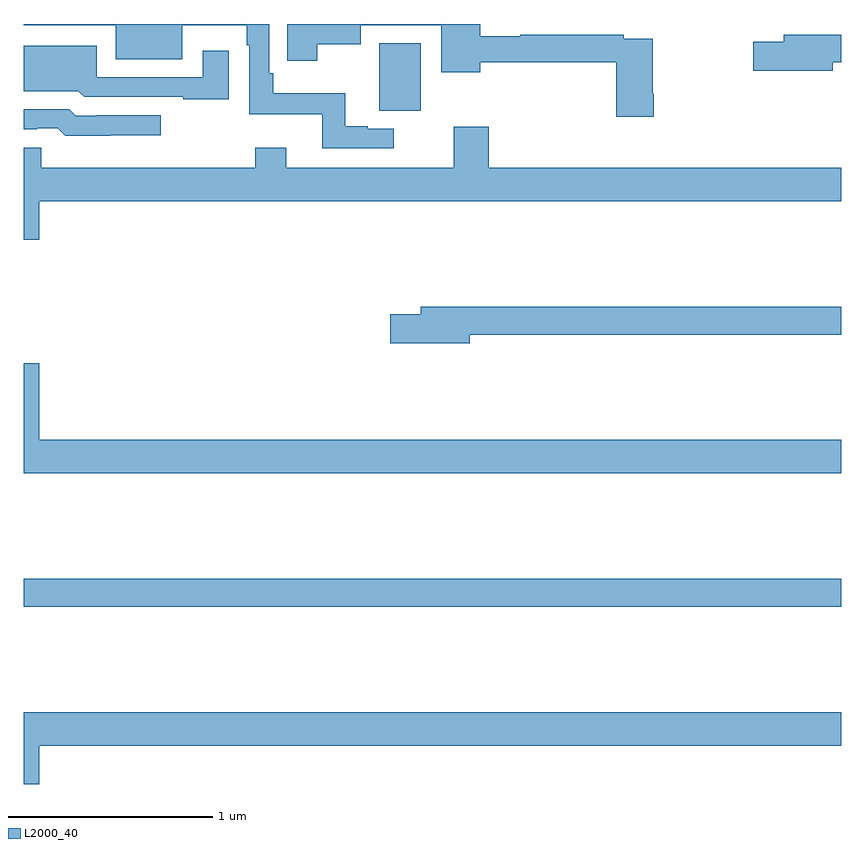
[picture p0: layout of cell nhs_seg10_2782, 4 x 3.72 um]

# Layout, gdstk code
import gdstk
lib = gdstk.Library(unit=1e-6, precision=1e-09)
def R(c, l, rs):  # rectangles x0, y0, x1, y1
    for r in rs: c.add(gdstk.rectangle(r[:2], r[2:], *l))
def P(c, l, *ps):  # polygons
    for p in ps: c.add(gdstk.Polygon(p, *l))
L2000_40 = (2000, 40)

nhs_seg10_2782 = lib.new_cell('nhs_seg10_2782')
R(nhs_seg10_2782, L2000_40, [(261,1315.648,265,1315.784), (262.739,1318.076,262.942,1318.405)])
P(nhs_seg10_2782, L2000_40, [(264.083,1318.159),(264.078,1318.159),(264.078,1318.428),(263.936,1318.428),(263.936,1318.448),(263.429,1318.448),(263.429,1318.441),(263.233,1318.441),(263.233,1318.5),(262.289,1318.5),(262.289,1318.32),(262.437,1318.32),(262.437,1318.402),(262.65,1318.402),(262.65,1318.494),(263.042,1318.494),(263.042,1318.265),(263.233,1318.265),(263.233,1318.312),(263.9,1318.312),(263.9,1318.047),(264.083,1318.047)],
  [(262.81,1317.987),(262.683,1317.987),(262.683,1318),(262.573,1318),(262.573,1318.162),(262.22,1318.162),(262.22,1318.258),(262.2,1318.258),(262.2,1318.5),(261,1318.5),(261,1318.494),(261.449,1318.494),(261.449,1318.328),(261.775,1318.328),(261.775,1318.494),(262.092,1318.494),(262.092,1318.397),(262.104,1318.397),(262.104,1318.058),(262.46,1318.058),(262.46,1317.891),(262.81,1317.891)],
  [(264.958,1318.312),(265,1318.312),(265,1318.448),(264.719,1318.448),(264.719,1318.412),(264.57,1318.412),(264.57,1318.27),(264.958,1318.27)],
  [(262.003,1318.369),(261.875,1318.369),(261.875,1318.239),(261.357,1318.239),(261.357,1318.393),(261,1318.393),(261,1318.172),(261.267,1318.172),(261.296,1318.143),(261.779,1318.143),(261.779,1318.131),(262.003,1318.131)],
  [(261.426,1317.956),(261.67,1317.956),(261.67,1318.053),(261.355,1318.053),(261.355,1318.05),(261.255,1318.05),(261.222,1318.083),(261,1318.083),(261,1317.986),(261.065,1317.986),(261.065,1317.99),(261.165,1317.99),(261.202,1317.954),(261.426,1317.954)],
  [(261.076,1317.632),(265,1317.632),(265,1317.796),(263.276,1317.796),(263.276,1317.997),(263.104,1317.997),(263.104,1317.796),(262.285,1317.796),(262.285,1317.895),(262.133,1317.895),(262.133,1317.796),(261.086,1317.796),(261.086,1317.895),(261,1317.895),(261,1317.444),(261.076,1317.444)],
  [(263.182,1316.98),(265,1316.98),(265,1317.116),(262.943,1317.116),(262.943,1317.08),(262.794,1317.08),(262.794,1316.938),(263.182,1316.938)],
  [(265,1316.464),(261.076,1316.464),(261.076,1316.839),(261,1316.839),(261,1316.3),(265,1316.3)],
  [(261.076,1314.968),(265,1314.968),(265,1315.132),(261,1315.132),(261,1314.78),(261.076,1314.78)])

lib.write_gds('nhs_seg10_2782.gds')
